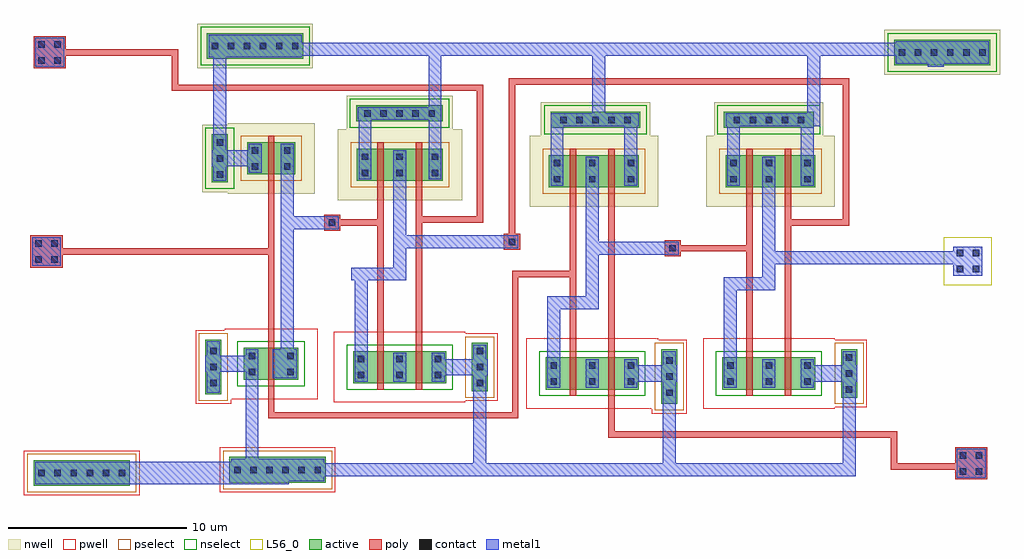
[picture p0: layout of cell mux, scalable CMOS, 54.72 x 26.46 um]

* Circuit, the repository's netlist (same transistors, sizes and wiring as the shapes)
*** SPICE deck for cell mux{lay} from library Multiplexer
*** Created on Sat Jan 14, 2023 13:54:04
*** Last revised on Sat Jan 14, 2023 16:23:17
*** Written on Sun Jan 22, 2023 13:12:48 by Electric VLSI Design System, version 9.07
*** Layout tech: mocmos, foundry MOSIS
*** UC SPICE *** , MIN_RESIST 4.0, MIN_CAPAC 0.1FF

*** TOP LEVEL CELL: mux{lay}
Mnmos@0 gnd S net@1 gnd NMOS L=0.36U W=1.8U AS=2.268P AD=6.966P PS=6.12U PD=17.28U
Mnmos@1 net@3 net@1 net@9 gnd NMOS L=0.36U W=1.8U AS=1.62P AD=1.89P PS=3.6U PD=4.5U
Mnmos@2 net@9 A0 gnd gnd NMOS L=0.36U W=1.8U AS=6.966P AD=1.62P PS=17.28U PD=3.6U
Mnmos@7 net@20 S net@15 gnd NMOS L=0.36U W=1.8U AS=1.62P AD=1.89P PS=3.6U PD=4.5U
Mnmos@8 net@15 A1 gnd gnd NMOS L=0.36U W=1.8U AS=6.966P AD=1.62P PS=17.28U PD=3.6U
Mnmos@9 Y net@20 net@25 gnd NMOS L=0.36U W=1.8U AS=1.62P AD=1.89P PS=3.6U PD=4.5U
Mnmos@10 net@25 net@3 gnd gnd NMOS L=0.36U W=1.8U AS=6.966P AD=1.62P PS=17.28U PD=3.6U
Mpmos@0 vdd net@1 net@3 vdd PMOS L=0.36U W=1.8U AS=1.89P AD=5.568P PS=4.5U PD=14.055U
Mpmos@1 net@3 A0 vdd vdd PMOS L=0.36U W=1.8U AS=5.568P AD=1.89P PS=14.055U PD=4.5U
Mpmos@2 vdd S net@1 vdd PMOS L=0.36U W=1.8U AS=2.268P AD=5.568P PS=6.12U PD=14.055U
Mpmos@7 vdd S net@20 vdd PMOS L=0.36U W=1.8U AS=1.89P AD=5.568P PS=4.5U PD=14.055U
Mpmos@8 net@20 A1 vdd vdd PMOS L=0.36U W=1.8U AS=5.568P AD=1.89P PS=14.055U PD=4.5U
Mpmos@9 vdd net@20 Y vdd PMOS L=0.36U W=1.8U AS=1.89P AD=5.568P PS=4.5U PD=14.055U
Mpmos@10 Y net@3 vdd vdd PMOS L=0.36U W=1.8U AS=5.568P AD=1.89P PS=14.055U PD=4.5U

* Spice Code nodes in cell cell 'mux{lay}'
vdd vdd 0 DC 5
va A0 0 pulse 5 0 0 10n 10n 1u 2u
vb A1 0 pulse 5 0 0 10n 10n 1u 3u
vs S 0 pulse 5 0 0 10n 10n 1u 5u
.trans 20u
.include D:\Electric\projects\C5_models.txt
.END

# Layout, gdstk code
import gdstk
lib = gdstk.Library(unit=1e-6, precision=1e-09)
def R(c, l, rs):  # rectangles x0, y0, x1, y1
    for r in rs: c.add(gdstk.rectangle(r[:2], r[2:], *l))
def A(c, l, x, y, w, h, nx, ny, dx, dy):  # array of equal rectangles
    R(c, l, [(x+i*dx, y+j*dy, x+i*dx+w, y+j*dy+h) for i in range(nx) for j in range(ny)])
contact = (25, 0)
pwell = (41, 0)
nwell = (42, 0)
active = (43, 0)
pselect = (44, 0)
nselect = (45, 0)
poly = (46, 0)
metal1 = (49, 0)
L56_0 = (56, 0)

mux = lib.new_cell('mux')
A(mux, contact, -29.07, -15.3, 0.36, 0.36, 6, 1, 0.9, 0)
A(mux, contact, -18.09, -15.12, 0.36, 0.36, 6, 1, 0.9, 0)
A(mux, contact, 6.12, -10.8, 0.36, 0.36, 1, 3, 0, 0.9)
A(mux, contact, 16.2, -10.62, 0.36, 0.36, 1, 3, 0, 0.9)
A(mux, contact, -19.44, -10.26, 0.36, 0.36, 1, 3, 0, 0.9)
A(mux, contact, -4.5, -10.26, 0.36, 0.36, 1, 3, 0, 0.9)
A(mux, contact, -0.36, -10.17, 0.36, 0.36, 3, 2, 2.16, 0.9)
A(mux, contact, 9.54, -10.17, 0.36, 0.36, 3, 2, 2.16, 0.9)
A(mux, contact, -11.16, -9.81, 0.36, 0.36, 3, 2, 2.16, 0.9)
A(mux, contact, -19.08, 1.44, 0.36, 0.36, 1, 3, 0, 0.9)
A(mux, contact, 0.18, 4.5, 0.36, 0.36, 5, 1, 0.9, 0)
A(mux, contact, 9.9, 4.5, 0.36, 0.36, 5, 1, 0.9, 0)
A(mux, contact, -10.8, 4.86, 0.36, 0.36, 5, 1, 0.9, 0)
A(mux, contact, 19.17, 8.28, 0.36, 0.36, 6, 1, 0.9, 0)
A(mux, contact, -19.35, 8.64, 0.36, 0.36, 6, 1, 0.9, 0)
R(mux, contact, [(22.59,-15.21,22.95,-14.85), (23.49,-15.21,23.85,-14.85), (22.59,-14.31,22.95,-13.95), (23.49,-14.31,23.85,-13.95), (-17.28,-9.63,-16.92,-9.27), (-15.12,-9.63,-14.76,-9.27), (-17.28,-8.73,-16.92,-8.37), (-15.12,-8.73,-14.76,-8.37), (22.41,-3.87,22.77,-3.51), (23.31,-3.87,23.67,-3.51), (-29.25,-3.33,-28.89,-2.97), (-28.35,-3.33,-27.99,-2.97), (22.41,-2.97,22.77,-2.61), (23.31,-2.97,23.67,-2.61), (6.3,-2.7,6.66,-2.34), (-29.25,-2.43,-28.89,-2.07), (-28.35,-2.43,-27.99,-2.07), (-2.7,-2.34,-2.34,-1.98), (-12.78,-1.26,-12.42,-0.9), (-0.18,1.17,0.18,1.53), (1.8,1.17,2.16,1.53), (3.96,1.17,4.32,1.53), (9.72,1.17,10.08,1.53), (11.7,1.17,12.06,1.53), (13.86,1.17,14.22,1.53), (-10.944,1.53,-10.584,1.89), (-9,1.53,-8.64,1.89), (-7.02,1.53,-6.66,1.89), (-17.1,1.89,-16.74,2.25), (-15.3,1.89,-14.94,2.25), (-0.18,2.07,0.18,2.43), (1.8,2.07,2.16,2.43), (3.96,2.07,4.32,2.43), (9.72,2.07,10.08,2.43), (11.7,2.07,12.06,2.43), (13.86,2.07,14.22,2.43), (-10.944,2.43,-10.584,2.79), (-9,2.43,-8.64,2.79), (-7.02,2.43,-6.66,2.79), (-17.1,2.79,-16.74,3.15), (-15.3,2.79,-14.94,3.15), (-29.07,7.83,-28.71,8.19), (-28.17,7.83,-27.81,8.19), (-29.07,8.73,-28.71,9.09), (-28.17,8.73,-27.81,9.09)])
A(mux, pwell, -1.71, -11.52, 3.06, 3.96, 3, 1, 2.16, 0)
A(mux, pwell, 8.19, -11.52, 3.06, 3.96, 3, 1, 2.16, 0)
A(mux, pwell, -12.51, -11.16, 3.06, 3.96, 3, 1, 2.16, 0)
R(mux, pwell, [(-29.88,-16.38,-23.4,-13.86), (-18.9,-16.2,-12.42,-13.68), (5.31,-11.79,7.29,-7.65), (-0.9,-11.52,2.7,-7.56), (1.26,-11.52,4.86,-7.56), (9,-11.52,12.6,-7.56), (11.16,-11.52,14.76,-7.56), (15.39,-11.43,17.37,-7.65), (-20.25,-11.25,-18.27,-7.11), (-11.7,-11.16,-8.1,-7.2), (-9.54,-11.16,-5.94,-7.2), (-5.31,-11.07,-3.33,-7.29), (-18.63,-10.98,-15.57,-7.02), (-17.82,-10.98,-14.22,-7.02), (-16.47,-10.98,-13.41,-7.02), (0.225,-10.89,3.33,-8.19), (0.63,-10.89,3.735,-8.19), (2.385,-10.89,5.49,-8.19), (10.125,-10.89,13.23,-8.19), (10.53,-10.89,13.635,-8.19), (12.285,-10.89,15.39,-8.19), (-1.53,-10.71,1.575,-8.01), (8.37,-10.71,11.475,-8.01), (-10.575,-10.53,-7.47,-7.83), (-10.17,-10.53,-7.065,-7.83), (-8.415,-10.53,-5.31,-7.83), (-18.45,-10.35,-15.345,-7.65), (-16.695,-10.35,-13.59,-7.65), (-12.33,-10.35,-9.225,-7.65)])
R(mux, nwell, [(-1.53,-0.18,1.53,3.78), (-0.9,-0.18,2.7,3.78), (0.45,-0.18,3.51,3.78), (1.26,-0.18,4.86,3.78), (2.61,-0.18,5.67,3.78), (8.37,-0.18,11.43,3.78), (9,-0.18,12.6,3.78), (10.35,-0.18,13.41,3.78), (11.16,-0.18,14.76,3.78), (12.51,-0.18,15.57,3.78), (-12.294,0.18,-9.234,4.14), (-11.7,0.18,-8.1,4.14), (-10.35,0.18,-7.29,4.14), (-9.54,0.18,-5.94,4.14), (-8.37,0.18,-5.31,4.14), (0.63,0.45,3.735,3.15), (2.385,0.45,5.49,3.15), (10.53,0.45,13.635,3.15), (12.285,0.45,15.39,3.15), (-18.45,0.54,-15.39,4.5), (-17.82,0.54,-14.22,4.5), (-16.65,0.54,-13.59,4.5), (-19.89,0.63,-17.91,4.41), (-1.35,0.63,1.575,3.33), (0.225,0.63,3.33,3.33), (8.55,0.63,11.475,3.33), (10.125,0.63,13.23,3.33), (-10.17,0.81,-7.065,3.51), (-8.415,0.81,-5.49,3.51), (-12.114,0.99,-9.225,3.69), (-10.575,0.99,-7.47,3.69), (-18.27,1.17,-15.345,3.87), (-16.695,1.17,-13.77,3.87), (-0.9,3.69,5.22,5.67), (8.82,3.69,14.94,5.67), (-11.79,4.05,-5.85,6.03), (18.36,7.2,24.84,9.72), (-20.16,7.56,-13.68,10.08)])
A(mux, active, -0.63, -10.44, 0.9, 1.8, 3, 1, 2.16, 0)
A(mux, active, 9.27, -10.44, 0.9, 1.8, 3, 1, 2.16, 0)
A(mux, active, -11.43, -10.08, 0.9, 1.8, 3, 1, 2.16, 0)
R(mux, active, [(-29.34,-15.84,-23.94,-14.4), (-18.36,-15.66,-12.96,-14.22), (5.85,-11.25,6.75,-8.19), (15.93,-10.89,16.83,-8.19), (-19.71,-10.71,-18.81,-7.65), (-4.77,-10.53,-3.87,-7.83), (0.18,-10.44,1.62,-8.64), (2.34,-10.44,3.78,-8.64), (10.08,-10.44,11.52,-8.64), (12.24,-10.44,13.68,-8.64), (-10.62,-10.08,-9.18,-8.28), (-8.46,-10.08,-7.02,-8.28), (-17.55,-9.9,-16.65,-8.1), (-16.74,-9.9,-15.3,-8.1), (-15.39,-9.9,-14.49,-8.1), (1.305,-9.81,2.25,-9.27), (1.71,-9.81,2.655,-9.27), (3.465,-9.81,4.41,-9.27), (11.205,-9.81,12.15,-9.27), (11.61,-9.81,12.555,-9.27), (13.365,-9.81,14.31,-9.27), (-0.45,-9.63,0.495,-9.09), (9.45,-9.63,10.395,-9.09), (-9.495,-9.45,-8.55,-8.91), (-9.09,-9.45,-8.145,-8.91), (-7.335,-9.45,-6.39,-8.91), (-17.37,-9.27,-16.425,-8.73), (-15.615,-9.27,-14.67,-8.73), (-11.25,-9.27,-10.305,-8.73), (-0.45,0.9,0.45,2.7), (0.18,0.9,1.62,2.7), (1.53,0.9,2.43,2.7), (2.34,0.9,3.78,2.7), (3.69,0.9,4.59,2.7), (9.45,0.9,10.35,2.7), (10.08,0.9,11.52,2.7), (11.43,0.9,12.33,2.7), (12.24,0.9,13.68,2.7), (13.59,0.9,14.49,2.7), (-19.35,1.17,-18.45,3.87), (-11.214,1.26,-10.314,3.06), (-10.62,1.26,-9.18,3.06), (-9.27,1.26,-8.37,3.06), (-8.46,1.26,-7.02,3.06), (-7.29,1.26,-6.39,3.06), (1.71,1.53,2.655,2.07), (3.465,1.53,4.41,2.07), (11.61,1.53,12.555,2.07), (13.365,1.53,14.31,2.07), (-17.37,1.62,-16.47,3.42), (-16.74,1.62,-15.3,3.42), (-15.57,1.62,-14.67,3.42), (-0.27,1.71,0.495,2.25), (1.305,1.71,2.25,2.25), (9.63,1.71,10.395,2.25), (11.205,1.71,12.15,2.25), (-9.09,1.89,-8.145,2.43), (-7.335,1.89,-6.57,2.43), (-11.034,2.07,-10.305,2.61), (-9.495,2.07,-8.55,2.61), (-17.19,2.25,-16.425,2.79), (-15.615,2.25,-14.85,2.79), (-0.36,4.23,4.68,5.13), (9.36,4.23,14.4,5.13), (-11.25,4.59,-6.39,5.49), (18.9,7.74,24.3,9.18), (-19.62,8.1,-14.22,9.54)])
R(mux, pselect, [(-29.7,-16.2,-23.58,-14.04), (-18.72,-16.02,-12.6,-13.86), (5.49,-11.61,7.11,-7.83), (15.57,-11.25,17.19,-7.83), (-20.07,-11.07,-18.45,-7.29), (-5.13,-10.89,-3.51,-7.47), (-0.81,0.54,0.81,3.06), (-0.18,0.54,1.98,3.06), (1.17,0.54,2.79,3.06), (1.98,0.54,4.14,3.06), (3.33,0.54,4.95,3.06), (9.09,0.54,10.71,3.06), (9.72,0.54,11.88,3.06), (11.07,0.54,12.69,3.06), (11.88,0.54,14.04,3.06), (13.23,0.54,14.85,3.06), (-11.574,0.9,-9.954,3.42), (-10.98,0.9,-8.82,3.42), (-9.63,0.9,-8.01,3.42), (-8.82,0.9,-6.66,3.42), (-7.65,0.9,-6.03,3.42), (1.35,1.17,3.015,2.43), (3.105,1.17,4.77,2.43), (11.25,1.17,12.915,2.43), (13.005,1.17,14.67,2.43), (-17.73,1.26,-16.11,3.78), (-17.1,1.26,-14.94,3.78), (-15.93,1.26,-14.31,3.78), (-0.63,1.35,0.855,2.61), (0.945,1.35,2.61,2.61), (9.27,1.35,10.755,2.61), (10.845,1.35,12.51,2.61), (-9.45,1.53,-7.785,2.79), (-7.695,1.53,-6.21,2.79), (-11.394,1.71,-9.945,2.97), (-9.855,1.71,-8.19,2.97), (-17.55,1.89,-16.065,3.15), (-15.975,1.89,-14.49,3.15)])
A(mux, nselect, -0.99, -10.8, 1.62, 2.52, 3, 1, 2.16, 0)
A(mux, nselect, 8.91, -10.8, 1.62, 2.52, 3, 1, 2.16, 0)
A(mux, nselect, -11.79, -10.44, 1.62, 2.52, 3, 1, 2.16, 0)
R(mux, nselect, [(-0.18,-10.8,1.98,-8.28), (1.98,-10.8,4.14,-8.28), (9.72,-10.8,11.88,-8.28), (11.88,-10.8,14.04,-8.28), (-10.98,-10.44,-8.82,-7.92), (-8.82,-10.44,-6.66,-7.92), (-17.91,-10.26,-16.29,-7.74), (-17.1,-10.26,-14.94,-7.74), (-15.75,-10.26,-14.13,-7.74), (0.945,-10.17,2.61,-8.91), (1.35,-10.17,3.015,-8.91), (3.105,-10.17,4.77,-8.91), (10.845,-10.17,12.51,-8.91), (11.25,-10.17,12.915,-8.91), (13.005,-10.17,14.67,-8.91), (-0.81,-9.99,0.855,-8.73), (9.09,-9.99,10.755,-8.73), (-9.855,-9.81,-8.19,-8.55), (-9.45,-9.81,-7.785,-8.55), (-7.695,-9.81,-6.03,-8.55), (-17.73,-9.63,-16.065,-8.37), (-15.975,-9.63,-14.31,-8.37), (-11.61,-9.63,-9.945,-8.37), (-19.71,0.81,-18.09,4.23), (-0.72,3.87,5.04,5.49), (9,3.87,14.76,5.49), (-11.61,4.23,-6.03,5.85), (18.54,7.38,24.66,9.54), (-19.98,7.74,-13.86,9.9)])
R(mux, poly, [(22.32,-15.48,24.12,-13.68), (22.5,-15.48,23.94,-13.86), (18.72,-14.94,23.4,-14.58), (18.72,-14.94,19.08,-12.78), (2.88,-13.14,3.24,-10.62), (2.88,-13.14,19.08,-12.78), (-16.2,-12.06,-15.84,-10.08), (-16.2,-12.06,-2.16,-11.7), (-2.52,-12.06,-2.16,-5.58), (0.72,-10.8,1.08,-8.28), (2.88,-10.8,3.24,-8.28), (10.62,-10.8,10.98,-8.28), (12.78,-10.8,13.14,-8.28), (-10.08,-10.44,-9.72,-7.92), (-7.92,-10.44,-7.56,-7.92), (-16.2,-10.26,-15.84,-7.74), (0.72,-8.46,1.08,-3.78), (2.88,-8.46,3.24,0.72), (10.62,-8.46,10.98,-2.34), (12.78,-8.46,13.14,-0.9), (-10.08,-8.1,-9.72,-0.9), (-7.92,-8.1,-7.56,-0.72), (-16.2,-7.92,-15.84,-2.52), (-2.52,-5.94,-2.16,-5.58), (-2.52,-5.94,-2.16,-3.78), (-2.52,-4.14,1.08,-3.78), (0.72,-4.14,1.08,0.72), (-29.52,-3.6,-27.72,-1.8), (6.03,-2.97,6.93,-2.07), (-28.8,-2.88,-15.84,-2.52), (-16.2,-2.88,-15.84,1.44), (6.3,-2.7,10.98,-2.34), (10.62,-2.7,10.98,0.72), (-2.97,-2.61,-2.07,-1.71), (-2.7,-2.34,-2.34,7.02), (-13.05,-1.53,-12.15,-0.63), (-12.78,-1.26,-9.72,-0.9), (-10.08,-1.26,-9.72,1.08), (12.78,-1.26,13.14,0.72), (12.78,-1.26,16.38,-0.9), (16.02,-1.26,16.38,7.02), (-7.92,-1.08,-7.56,1.08), (-7.92,-1.08,-4.14,-0.72), (-4.5,-1.08,-4.14,6.66), (0.72,0.54,1.08,3.06), (2.88,0.54,3.24,3.06), (10.62,0.54,10.98,3.06), (12.78,0.54,13.14,3.06), (-10.08,0.9,-9.72,3.42), (-7.92,0.9,-7.56,3.42), (-16.2,1.26,-15.84,3.78), (-21.6,6.3,-21.24,8.64), (-21.6,6.3,-7.38,6.66), (-7.74,6.3,-4.14,6.66), (-2.7,6.66,9.36,7.02), (9,6.66,16.38,7.02), (-29.34,7.56,-27.54,9.36), (-28.62,8.28,-21.24,8.64)])
A(mux, metal1, -0.54, -10.35, 0.72, 1.62, 3, 1, 2.16, 0)
A(mux, metal1, 9.36, -10.35, 0.72, 1.62, 3, 1, 2.16, 0)
A(mux, metal1, -11.34, -9.99, 0.72, 1.62, 3, 1, 2.16, 0)
R(mux, metal1, [(-29.25,-15.75,-24.03,-14.49), (-27.27,-15.75,-15.03,-14.49), (-18.27,-15.57,-13.05,-14.31), (-16.02,-15.48,-15.3,-14.58), (22.41,-15.39,24.03,-13.77), (-16.02,-15.3,-3.96,-14.58), (-4.68,-15.3,6.66,-14.58), (-4.68,-15.3,-3.96,-8.82), (5.94,-15.3,6.66,-9.36), (5.94,-15.3,16.74,-14.58), (16.02,-15.3,16.74,-9.18), (-17.46,-14.94,-16.74,-8.64), (5.94,-11.16,6.66,-8.28), (16.02,-10.8,16.74,-8.28), (-19.62,-10.62,-18.9,-7.74), (-4.68,-10.44,-3.96,-7.92), (4.14,-9.99,6.75,-9.09), (14.04,-9.99,16.83,-9.09), (-0.54,-9.9,0.18,-5.22), (9.36,-9.9,10.08,-4.14), (-17.46,-9.81,-16.74,-8.19), (-15.93,-9.81,-14.94,-8.19), (-15.3,-9.81,-14.58,-8.19), (-6.66,-9.63,-3.87,-8.73), (-11.34,-9.54,-10.62,-3.6), (-19.71,-9.45,-17.1,-8.55), (-15.48,-9.36,-14.76,-0.72), (-0.54,-5.94,2.34,-5.22), (1.62,-5.94,2.34,-2.16), (9.36,-4.86,12.24,-4.14), (11.52,-4.86,12.24,-2.7), (-11.52,-4.32,-8.46,-3.6), (-11.52,-4.32,-10.62,-3.6), (-9.18,-4.32,-8.46,-1.8), (22.23,-4.05,23.85,-2.43), (-29.43,-3.51,-27.81,-1.89), (11.52,-3.42,12.24,2.16), (11.52,-3.42,23.4,-2.7), (1.62,-2.88,2.34,2.16), (1.62,-2.88,6.84,-2.16), (6.12,-2.88,6.84,-2.16), (-9.18,-2.52,-8.46,2.52), (-9.18,-2.52,-2.16,-1.8), (-2.88,-2.52,-2.16,-1.8), (-15.48,-1.44,-14.76,2.88), (-15.48,-1.44,-12.24,-0.72), (-12.96,-1.44,-12.24,-0.72), (-0.36,0.99,0.36,2.61), (1.62,0.99,2.34,2.61), (3.78,0.99,4.5,2.61), (9.54,0.99,10.26,2.61), (11.52,0.99,12.24,2.61), (13.68,0.99,14.4,2.61), (-19.26,1.26,-18.54,3.78), (-11.124,1.35,-10.404,2.97), (-9.18,1.35,-8.46,2.97), (-7.2,1.35,-6.48,2.97), (-0.36,1.44,0.36,5.04), (3.78,1.44,4.5,5.04), (9.54,1.44,10.26,5.04), (13.68,1.44,14.4,5.04), (-17.28,1.71,-16.56,3.33), (-15.48,1.71,-14.76,3.33), (-11.124,1.8,-10.404,5.4), (-7.2,1.8,-6.48,5.4), (-19.35,2.07,-16.92,2.97), (-19.26,2.16,-18.54,9), (-0.36,4.32,2.52,5.04), (-0.27,4.32,4.59,5.04), (1.98,4.32,2.7,9), (9.45,4.32,14.31,5.04), (11.52,4.32,14.76,5.04), (14.04,4.32,14.76,9), (-11.16,4.68,-6.48,5.4), (-7.2,4.68,-6.48,9), (-29.25,7.65,-27.63,9.27), (20.79,7.65,21.69,9.09), (18.99,7.83,24.21,9.09), (-19.53,8.19,-14.31,9.45), (-18,8.28,-10.44,9), (-11.16,8.28,-6.48,9), (-7.2,8.28,2.7,9), (1.98,8.28,14.76,9), (13.68,8.28,14.76,9), (14.04,8.28,21.6,9)])
R(mux, L56_0, [(21.69,-4.59,24.39,-1.89)])

lib.write_gds('mux.gds')
